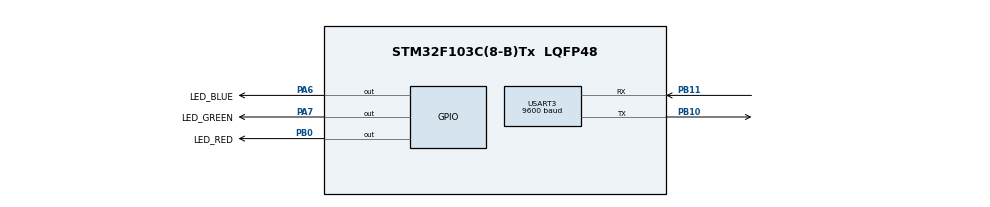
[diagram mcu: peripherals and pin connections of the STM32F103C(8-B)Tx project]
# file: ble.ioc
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Dma.Request0=USART3_TX
Dma.Request1=USART3_RX
Dma.USART3_RX.1.Direction=DMA_PERIPH_TO_MEMORY
Dma.USART3_RX.1.Instance=DMA1_Channel3
Dma.USART3_RX.1.MemDataAlignment=DMA_MDATAALIGN_BYTE
Dma.USART3_RX.1.MemInc=DMA_MINC_ENABLE
Dma.USART3_RX.1.Mode=DMA_NORMAL
Dma.USART3_RX.1.PeriphDataAlignment=DMA_PDATAALIGN_BYTE
Dma.USART3_RX.1.PeriphInc=DMA_PINC_DISABLE
Dma.USART3_RX.1.Priority=DMA_PRIORITY_LOW
Dma.USART3_TX.0.Direction=DMA_MEMORY_TO_PERIPH
Dma.USART3_TX.0.Instance=DMA1_Channel2
Dma.USART3_TX.0.MemDataAlignment=DMA_MDATAALIGN_BYTE
Dma.USART3_TX.0.MemInc=DMA_MINC_ENABLE
Dma.USART3_TX.0.Mode=DMA_NORMAL
Dma.USART3_TX.0.PeriphDataAlignment=DMA_PDATAALIGN_BYTE
Dma.USART3_TX.0.PeriphInc=DMA_PINC_DISABLE
Dma.USART3_TX.0.Priority=DMA_PRIORITY_LOW
Mcu.Family=STM32F1
Mcu.Name=STM32F103C(8-B)Tx
Mcu.Package=LQFP48
NVIC.DMA1_Channel2_IRQn=true\:0\:0\:false\:false\:true\:false\:true\:true
NVIC.DMA1_Channel3_IRQn=true\:0\:0\:false\:false\:true\:false\:true\:true
NVIC.PriorityGroup=NVIC_PRIORITYGROUP_4
PA6.GPIO_Label=LED_BLUE
PA6.Signal=GPIO_Output
PA7.GPIO_Label=LED_GREEN
PA7.Signal=GPIO_Output
PB0.GPIO_Label=LED_RED
PB0.Signal=GPIO_Output
PB10.Mode=Asynchronous
PB10.Signal=USART3_TX
PB11.Mode=Asynchronous
PB11.Signal=USART3_RX
ProjectManager.HeapSize=0x200
ProjectManager.StackSize=0x400
ProjectManager.TargetToolchain=STM32CubeIDE
RCC.APB1Freq_Value=8000000
RCC.APB2Freq_Value=8000000
USART3.BaudRate=9600
USART3.VirtualMode=VM_ASYNC
VP_SYS_VS_ND.Mode=No_Debug
board=custom

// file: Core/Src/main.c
/* USER CODE BEGIN Header */
/**
  ******************************************************************************
  * @file           : main.c
  * @brief          : Main program body
  ******************************************************************************
  * @attention
  *
  * Copyright (c) 2026 STMicroelectronics.
  * All rights reserved.
  *
  * This software is licensed under terms that can be found in the LICENSE file
  * in the root directory of this software component.
  * If no LICENSE file comes with this software, it is provided AS-IS.
  *
  ******************************************************************************
  */
/* USER CODE END Header */
#include "main.h"

UART_HandleTypeDef huart3;
DMA_HandleTypeDef hdma_usart3_tx;
DMA_HandleTypeDef hdma_usart3_rx;

/* USER CODE BEGIN PV */
uint8_t receiveData[50];
/* USER CODE END PV */

void SystemClock_Config(void);
static void MX_GPIO_Init(void);
static void MX_DMA_Init(void);
static void MX_USART3_UART_Init(void);

/* USER CODE BEGIN 0 */
void HAL_UARTEx_RxEventCallback(UART_HandleTypeDef *huart, uint16_t Size) {//若需建立数据缓存区，见波特率动
	if (huart == &huart3) {
		HAL_UART_Transmit_DMA(&huart3, receiveData, Size);

		if (receiveData[0] == 0xAA) {
			if (receiveData[1] == Size) {
				uint8_t sum = 0;
				for (int i = 0;i < Size - 1; i++) {
					sum += receiveData[i];
				}
				if (sum == receiveData[Size - 1]) {//[0]是第一位，[Size - 1]就是最后一位
					for (int i = 2; i < Size - 1; i += 2) { //每两个一组作为指令
						GPIO_PinState state = GPIO_PIN_SET;
						if (receiveData[i + 1] == 0x00){
							state = GPIO_PIN_RESET;
						}
						if (receiveData[i] == 0x02){
							HAL_GPIO_WritePin(LED_GREEN_GPIO_Port, LED_GREEN_Pin, state);
						}else if (receiveData [i] == 0x01){
							HAL_GPIO_WritePin(LED_RED_GPIO_Port, LED_RED_Pin, state);
						}else if (receiveData [i] == 0x03){
							HAL_GPIO_WritePin(LED_BLUE_GPIO_Port, LED_BLUE_Pin, state);
						}
					}
				}
			}
		}

		  HAL_UARTEx_ReceiveToIdle_DMA(&huart3, receiveData, sizeof(receiveData));//串口不定长接收，注意DMA有过半中断
		  __HAL_DMA_DISABLE_IT(&hdma_usart3_rx,DMA_IT_HT);
	}
}
/* USER CODE END 0 */

int main(void)
{

  /* MCU Configuration--------------------------------------------------------*/

  /* Reset of all peripherals, Initializes the Flash interface and the Systick. */
  HAL_Init();

  /* Configure the system clock */
  SystemClock_Config();

  /* Initialize all configured peripherals */
  MX_GPIO_Init();
  MX_DMA_Init();
  MX_USART3_UART_Init();
  /* USER CODE BEGIN 2 */
  HAL_UARTEx_ReceiveToIdle_DMA(&huart3, receiveData, sizeof(receiveData));//串口不定长接收，注意DMA有过半中断
  __HAL_DMA_DISABLE_IT(&hdma_usart3_rx,DMA_IT_HT);
  /* USER CODE END 2 */

  /* Infinite loop */
  while (1)
  {

  }
}

void SystemClock_Config(void)
{
  RCC_OscInitTypeDef RCC_OscInitStruct = {0};
  RCC_ClkInitTypeDef RCC_ClkInitStruct = {0};

  /** Initializes the RCC Oscillators according to the specified parameters
  * in the RCC_OscInitTypeDef structure.
  */
  RCC_OscInitStruct.OscillatorType = RCC_OSCILLATORTYPE_HSI;
  RCC_OscInitStruct.HSIState = RCC_HSI_ON;
  RCC_OscInitStruct.HSICalibrationValue = RCC_HSICALIBRATION_DEFAULT;
  RCC_OscInitStruct.PLL.PLLState = RCC_PLL_NONE;
  if (HAL_RCC_OscConfig(&RCC_OscInitStruct) != HAL_OK)
  {
    Error_Handler();
  }

  /** Initializes the CPU, AHB and APB buses clocks
  */
  RCC_ClkInitStruct.ClockType = RCC_CLOCKTYPE_HCLK|RCC_CLOCKTYPE_SYSCLK
                              |RCC_CLOCKTYPE_PCLK1|RCC_CLOCKTYPE_PCLK2;
  RCC_ClkInitStruct.SYSCLKSource = RCC_SYSCLKSOURCE_HSI;
  RCC_ClkInitStruct.AHBCLKDivider = RCC_SYSCLK_DIV1;
  RCC_ClkInitStruct.APB1CLKDivider = RCC_HCLK_DIV1;
  RCC_ClkInitStruct.APB2CLKDivider = RCC_HCLK_DIV1;

  if (HAL_RCC_ClockConfig(&RCC_ClkInitStruct, FLASH_LATENCY_0) != HAL_OK)
  {
    Error_Handler();
  }
}

static void MX_USART3_UART_Init(void)
{

  huart3.Instance = USART3;
  huart3.Init.BaudRate = 9600;
  huart3.Init.WordLength = UART_WORDLENGTH_8B;
  huart3.Init.StopBits = UART_STOPBITS_1;
  huart3.Init.Parity = UART_PARITY_NONE;
  huart3.Init.Mode = UART_MODE_TX_RX;
  huart3.Init.HwFlowCtl = UART_HWCONTROL_NONE;
  huart3.Init.OverSampling = UART_OVERSAMPLING_16;
  if (HAL_UART_Init(&huart3) != HAL_OK)
  {
    Error_Handler();
  }

}

static void MX_DMA_Init(void)
{

  /* DMA controller clock enable */
  __HAL_RCC_DMA1_CLK_ENABLE();

  /* DMA interrupt init */
  /* DMA1_Channel2_IRQn interrupt configuration */
  HAL_NVIC_SetPriority(DMA1_Channel2_IRQn, 0, 0);
  HAL_NVIC_EnableIRQ(DMA1_Channel2_IRQn);
  /* DMA1_Channel3_IRQn interrupt configuration */
  HAL_NVIC_SetPriority(DMA1_Channel3_IRQn, 0, 0);
  HAL_NVIC_EnableIRQ(DMA1_Channel3_IRQn);

}

static void MX_GPIO_Init(void)
{
  GPIO_InitTypeDef GPIO_InitStruct = {0};

  /* GPIO Ports Clock Enable */
  __HAL_RCC_GPIOA_CLK_ENABLE();
  __HAL_RCC_GPIOB_CLK_ENABLE();

  /*Configure GPIO pin Output Level */
  HAL_GPIO_WritePin(GPIOA, LED_BLUE_Pin|LED_GREEN_Pin, GPIO_PIN_RESET);

  /*Configure GPIO pin Output Level */
  HAL_GPIO_WritePin(LED_RED_GPIO_Port, LED_RED_Pin, GPIO_PIN_RESET);

  /*Configure GPIO pins : LED_BLUE_Pin LED_GREEN_Pin */
  GPIO_InitStruct.Pin = LED_BLUE_Pin|LED_GREEN_Pin;
  GPIO_InitStruct.Mode = GPIO_MODE_OUTPUT_PP;
  GPIO_InitStruct.Pull = GPIO_NOPULL;
  GPIO_InitStruct.Speed = GPIO_SPEED_FREQ_LOW;
  HAL_GPIO_Init(GPIOA, &GPIO_InitStruct);

  /*Configure GPIO pin : LED_RED_Pin */
  GPIO_InitStruct.Pin = LED_RED_Pin;
  GPIO_InitStruct.Mode = GPIO_MODE_OUTPUT_PP;
  GPIO_InitStruct.Pull = GPIO_NOPULL;
  GPIO_InitStruct.Speed = GPIO_SPEED_FREQ_LOW;
  HAL_GPIO_Init(LED_RED_GPIO_Port, &GPIO_InitStruct);

}

void Error_Handler(void)
{
  __disable_irq();
  while (1)
  {
  }
}
